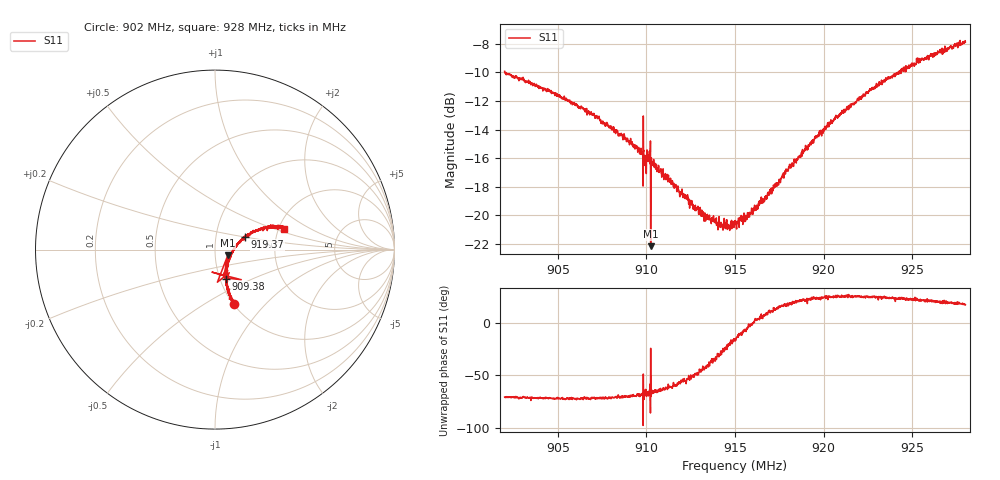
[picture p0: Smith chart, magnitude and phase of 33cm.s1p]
! Calibrated averaged scanner-service zoom
# Hz S RI R 50
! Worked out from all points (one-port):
!   2001 points, 902 MHz to 928 MHz, reference 50 ohm
!   lowest |S11| = -22.2 dB at 910.24 MHz (marker M1), VSWR 1.17, Z = 57.5 - j3.73 ohm
!   |S11| at or under -10 dB: 902.01 MHz to 924.19 MHz (22.18 MHz wide, 2.43 % of centre); 924.219 MHz to 924.2506 MHz (31.64 kHz wide, 0.00342 % of centre); 924.293 MHz to 924.3027 MHz (9.642 kHz wide, 0.00104 % of centre) (the widest 3 of 5)
!   S11 on the Smith chart (normalised r, x): 902 MHz: 1.01, -0.68; 909.38 MHz: 1.07, -0.36; 919.37 MHz: 1.38, +0.20; 928 MHz: 2.15, +0.60
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9.02e8  0.1054 -0.3012
9.0525e8  0.0791 -0.2438
9.06953e8  0.0713 -0.214
9.085e8  0.0593 -0.18
9.09384e8  0.0611 -0.1628
9.09722e8  0.0609 -0.1525
9.09878e8  0.0524 -0.14
9.10099e8  0.0632 -0.1448
9.10112e8  0.0677 -0.1483
9.10242e8  0.0711 -0.0322
9.10372e8  0.0643 -0.1395
9.10385e8  0.0605 -0.1407
9.10437e8  0.0589 -0.1357
9.1175e8  0.0659 -0.1028
9.13271e8  0.0715 -0.0664
9.14246e8  0.0802 -0.0449
9.14688e8  0.0854 -0.0336
9.15e8  0.0913 -0.027
9.15689e8  0.0965 -0.00822
9.1669e8  0.1148 0.0135
9.1825e8  0.1434 0.0491
9.19368e8  0.1659 0.0717
9.20304e8  0.1922 0.0861
9.215e8  0.2183 0.1015
9.2267e8  0.2502 0.1135
9.2475e8  0.3038 0.1192
9.26557e8  0.3568 0.131
9.28e8  0.3872 0.1172
